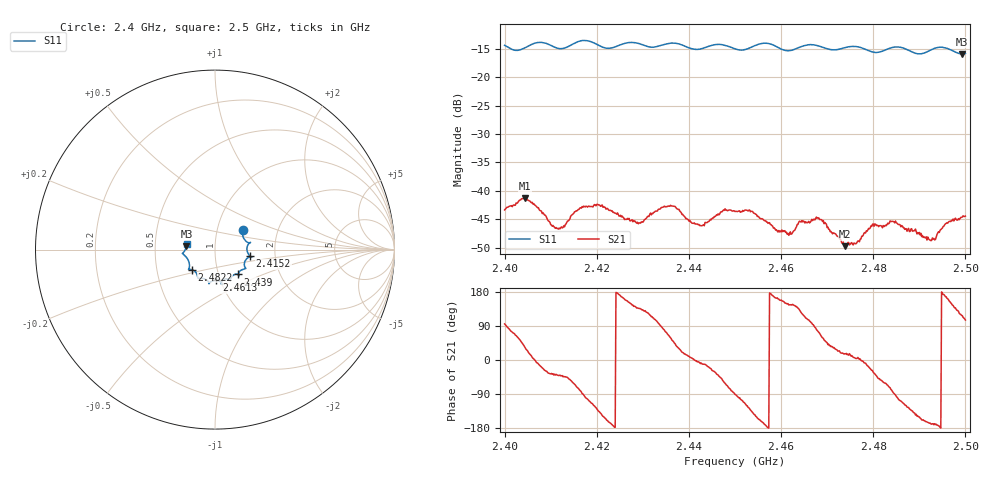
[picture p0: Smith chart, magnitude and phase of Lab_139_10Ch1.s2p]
# Hz S RI R 50
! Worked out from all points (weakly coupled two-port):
!   601 points, 2.4 GHz to 2.5 GHz, reference 50 ohm
!   highest |S21| = -41.30 dB at 2.4043 GHz (marker M1); lowest = -49.7 dB at 2.4738 GHz (marker M2)
!   lowest |S11| = -15.9 dB at 2.4992 GHz (marker M3), VSWR 1.38, Z = 36.3 + j1.39 ohm
!   |S11| at or under -10 dB: start of sweep to end of sweep
!   S12 and S22 are empty: the file has one direction only
!   S11 on the Smith chart (normalised r, x): 2.4 GHz: 1.33, +0.30; 2.4152 GHz: 1.48, -0.11; 2.439 GHz: 1.24, -0.35; 2.4613 GHz: 0.96, -0.34; 2.4822 GHz: 0.76, -0.17; 2.5 GHz: 0.73, +0.05
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2.4e9  0.1548 0.1106  -0.000615 0.00678  0 0  0 0
2.404333e9  0.1746 0.0448  0.00706 0.00494  0 0  0 0
2.4115e9  0.1788 0.014  0.00359 -0.00301  0 0  0 0
2.415167e9  0.1952 -0.0365  0.0029 -0.00587  0 0  0 0
2.416667e9  0.2048 -0.0423  0.000672 -0.00702  0 0  0 0
2.420667e9  0.1825 -0.0461  -0.00558 -0.00498  0 0  0 0
2.429e9  0.1675 -0.1061  -0.00373 0.00354  0 0  0 0
2.433333e9  0.1317 -0.1327  -0.000939 0.00681  0 0  0 0
2.4365e9  0.1344 -0.147  0.00468 0.00568  0 0  0 0
2.439e9  0.1278 -0.1382  0.00576 0.00162  0 0  0 0
2.442833e9  0.092 -0.1525  0.00486 -0.000875  0 0  0 0
2.45e9  0.0686 -0.1636  -7.94e-05 -0.00659  0 0  0 0
2.4535e9  0.0361 -0.1794  -0.0046 -0.00477  0 0  0 0
2.461333e9  0.0076 -0.1705  -0.00355 0.00218  0 0  0 0
2.466667e9  -0.0333 -0.19  -0.000701 0.00558  0 0  0 0
2.468667e9  -0.0345 -0.1817  0.00245 0.00503  0 0  0 0
2.473833e9  -0.085 -0.1604  0.00313 0.000936  0 0  0 0
2.482167e9  -0.1282 -0.112  0.00259 -0.00424  0 0  0 0
2.483333e9  -0.1396 -0.1104  0.00177 -0.00482  0 0  0 0
2.492833e9  -0.1735 -0.0284  -0.00378 -0.000795  0 0  0 0
2.499167e9  -0.1589 0.0187  -0.00272 0.00519  0 0  0 0
2.5e9  -0.1579 0.0339  -0.00161 0.00578  0 0  0 0
